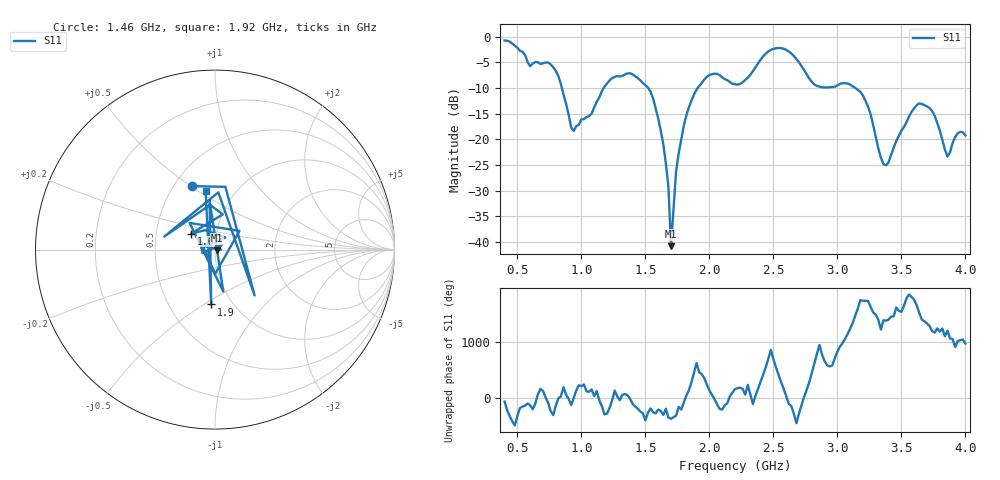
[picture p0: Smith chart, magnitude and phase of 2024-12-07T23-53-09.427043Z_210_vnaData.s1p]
!Created with skrf (http://scikit-rf.org).
# Hz S RI R 50.0
!freq ReS11 ImS11
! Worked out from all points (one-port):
!   181 points, 400 MHz to 4 GHz, reference 50 ohm
!   lowest |S11| = -40.9 dB at 1.7 GHz (marker M1), VSWR 1.02, Z = 50.9 - j0.3 ohm
!   |S11| at or under -10 dB: 847.6 MHz to 1.174 GHz (326.4 MHz wide, 32.3 % of centre); 1.522 GHz to 1.908 GHz (386 MHz wide, 22.5 % of centre); 3.141 GHz to end of sweep
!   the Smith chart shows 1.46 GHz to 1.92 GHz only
!   S11 on the Smith chart (normalised r, x): 1.46 GHz: 0.61, +0.51; 1.6 GHz: 0.75, +0.14; 1.9 GHz: 0.80, -0.54; 1.92 GHz: 0.73, +0.54
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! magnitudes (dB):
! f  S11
! 400 MHz  -0.7
! 600 MHz  -5.7
! 760 MHz  -5.4
! 860 MHz  -11.3
! 940 MHz  -18.4
! 1.3 GHz  -7.7
! 1.46 GHz  -8.5
! 1.6 GHz  -15.9
! 1.68 GHz  -29.3
! 1.7 GHz  -40.9
! 1.74 GHz  -26.2
! 1.76 GHz  -22.7
! 1.82 GHz  -15.3
! 1.9 GHz  -10.3
! 1.92 GHz  -9.6
! 2.04 GHz  -7.2
! 2.2 GHz  -9.3
! 2.48 GHz  -2.5
! 2.66 GHz  -3.8
! 2.84 GHz  -9.6
! 3.1 GHz  -9.3
! 3.24 GHz  -13.7
! 3.36 GHz  -24.8
! 3.56 GHz  -15.5
! 3.72 GHz  -13.9
! 3.86 GHz  -23.4
! 3.94 GHz  -18.8
! 4 GHz  -19.3
